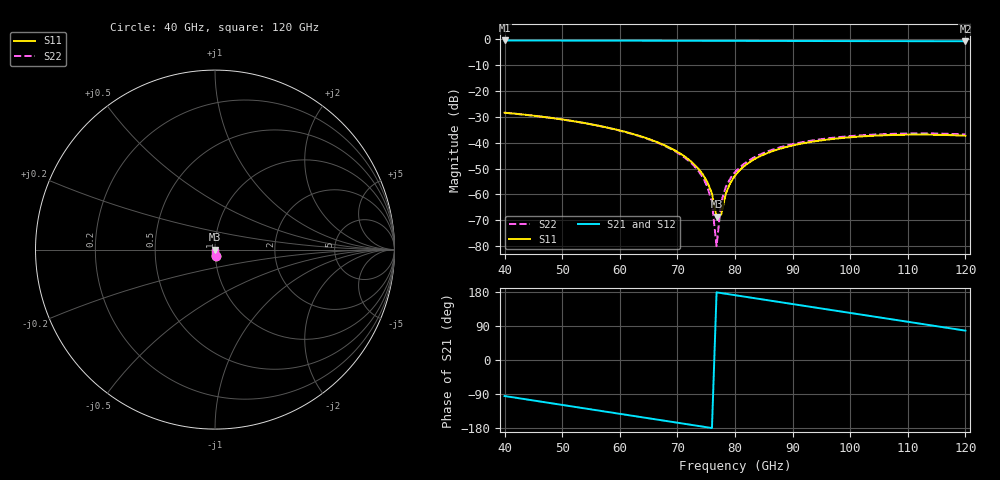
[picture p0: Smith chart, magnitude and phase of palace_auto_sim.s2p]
#  GHZ S DB R 50
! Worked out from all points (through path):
!   101 points, 40 GHz to 120 GHz, reference 50 ohm
!   highest |S21| = -0.56 dB at 40 GHz (marker M1); lowest = -0.9 dB at 120 GHz (marker M2)
!   group delay of S21, straight-line fit = 6.51 ps
!   lowest |S11| = -68.7 dB at 76.8 GHz (marker M3), VSWR 1.00, Z = 50 + j0.0105 ohm
!   |S11| at or under -10 dB: start of sweep to end of sweep
!   |S22| runs from -80.0 to -28.5 dB; largest |S21 - S12| = 1.1e-14
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40  -28.46 -77.6  -0.56 -95.0  -0.56 -95.0  -28.46 -77.6
46.4  -29.97 -93.2  -0.58 -110.1  -0.58 -110.1  -29.98 -93.2
53.6  -32.34 -110.8  -0.61 -127.0  -0.61 -127.0  -32.37 -110.7
61.6  -36.24 -130.4  -0.65 -145.8  -0.65 -145.8  -36.33 -130.3
67.2  -40.48 -144.5  -0.67 -158.9  -0.67 -158.9  -40.67 -144.2
71.2  -45.27 -154.9  -0.68 -168.3  -0.68 -168.3  -45.69 -154.3
72.8  -48.12 -159.6  -0.69 -172.1  -0.69 -172.1  -48.77 -158.6
74.4  -52.23 -165.0  -0.70 -175.8  -0.70 -175.8  -53.39 -163.6
75.2  -55.24 -168.8  -0.70 -177.7  -0.70 -177.7  -57.02 -166.9
76  -59.75 -174.9  -0.70 -179.6  -0.70 -179.6  -63.17 -173.0
76.8  -68.65 163.5  -0.71 178.6  -0.71 178.6  -79.98 93.6
77.6  -67.88 39.0  -0.71 176.7  -0.71 176.7  -62.93 19.4
78.4  -59.67 20.0  -0.71 174.8  -0.71 174.8  -57.17 13.6
79.2  -55.50 14.2  -0.72 172.9  -0.72 172.9  -53.79 10.4
80  -52.73 10.6  -0.72 171.1  -0.72 171.1  -51.41 7.8
82.4  -47.73 2.9  -0.73 165.4  -0.73 165.4  -46.89 1.3
84.8  -44.80 -3.5  -0.74 159.8  -0.74 159.8  -44.14 -4.7
88.8  -41.77 -13.2  -0.75 150.4  -0.75 150.4  -41.24 -14.2
93.6  -39.59 -24.4  -0.77 139.2  -0.77 139.2  -39.12 -25.3
107.2  -37.07 -55.2  -0.82 107.4  -0.82 107.4  -36.62 -56.1
113.6  -36.93 -70.0  -0.84 92.5  -0.84 92.5  -36.47 -70.9
120  -37.35 -85.4  -0.85 77.5  -0.85 77.5  -36.85 -86.2
